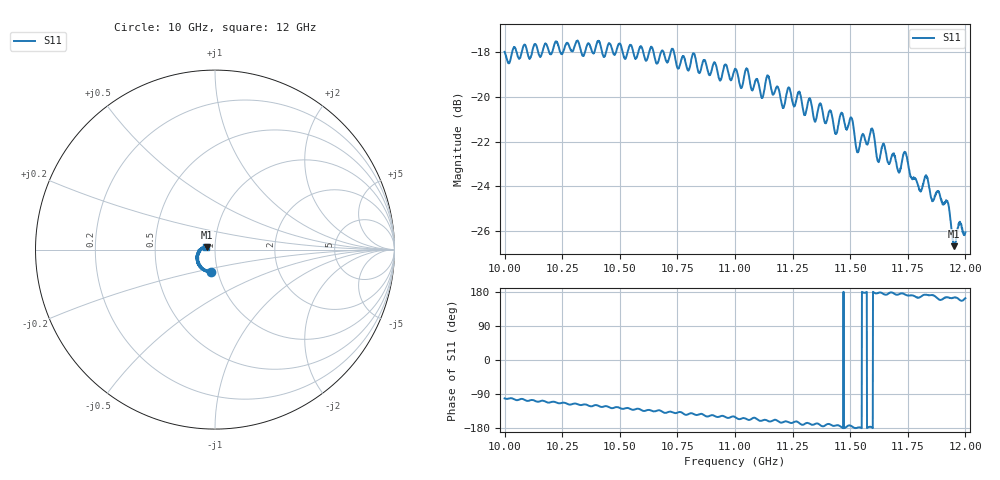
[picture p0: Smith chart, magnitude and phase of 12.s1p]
[Version] 2.0
! Rohde & Schwarz Vector Network Analyzer
! Rohde-Schwarz,ZNL20-2Port,1323001220200009,1.71.1.10-23.02.1.238
! Port Assignments:
! Nominal Port -> Actual Test Port
!  1 -> 1
! Created: GMT 2024-09-04 10:35:26
# Hz S DB R 50
[Number of Ports] 1
! freq[Hz]  S11[mag dB]  S11[ang]
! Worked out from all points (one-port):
!   2001 points, 10 GHz to 12 GHz, reference 50 ohm
!   lowest |S11| = -26.7 dB at 11.95 GHz (marker M1), VSWR 1.10, Z = 45.7 + j1.12 ohm
!   |S11| at or under -10 dB: start of sweep to end of sweep
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[Number of Frequencies] 28
[Network Data]
1e10  -18.00 -101.3
1.025e10  -18.07 -113.0
1.05e10  -17.63 -126.5
1.0661e10  -18.53 -133.7
1.0729e10  -17.87 -138.0
1.075e10  -18.71 -139.0
1.082e10  -18.08 -142.3
1.0845e10  -18.95 -143.0
1.1e10  -18.75 -150.4
1.125e10  -20.25 -165.6
1.1414e10  -20.62 -170.3
1.1438e10  -21.65 -172.7
1.1461e10  -20.74 -176.8
1.15e10  -20.97 -172.6
1.1532e10  -22.48 -178.5
1.1594e10  -21.42 -178.0
1.1622e10  -22.90 177.0
1.1644e10  -22.15 174.4
1.1711e10  -23.38 173.2
1.1736e10  -22.45 173.5
1.175e10  -22.90 170.3
1.1802e10  -24.18 165.3
1.183e10  -23.52 172.3
1.1856e10  -24.66 171.4
1.192e10  -24.67 165.6
1.195e10  -26.66 164.7
1.1976e10  -25.57 158.4
1.2e10  -26.04 163.0
[End]
